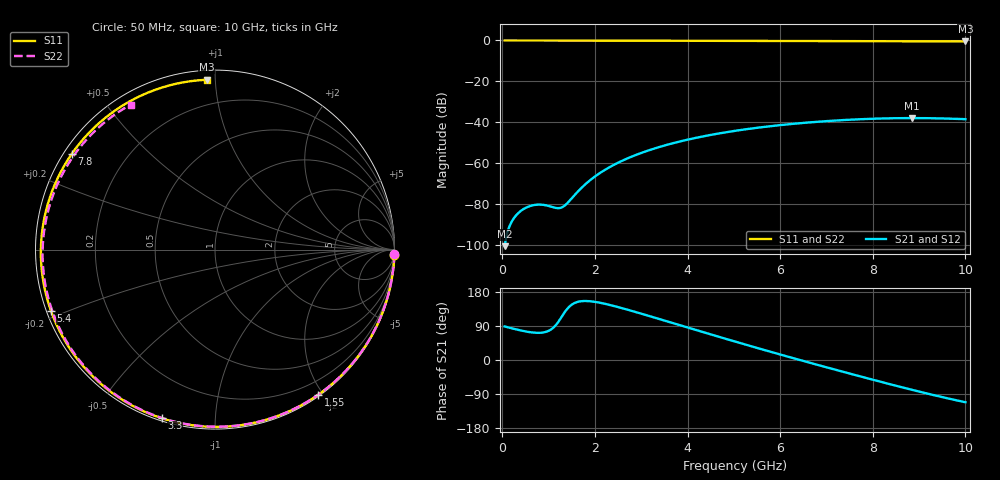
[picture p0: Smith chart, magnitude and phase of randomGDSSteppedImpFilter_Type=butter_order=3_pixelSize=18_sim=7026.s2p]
! freq	dB(S11)	phase(S11)	dB(S12)	phase(S12)
!  dB(S21)	phase(S21)	dB(S22)	phase(S22)
!S-par simulation data
#  GHz  S  DB  R 50
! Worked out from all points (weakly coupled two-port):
!   200 points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, 50 MHz to 10 GHz, reference 50 ohm
!   highest |S21| = -37.90 dB at 8.85 GHz (marker M1); lowest = -100.4 dB at 50 MHz (marker M2)
!   lowest |S11| = -0.5 dB at 10 GHz (marker M3), VSWR 36.89, Z = 2.58 + j47.6 ohm
!   |S11| at or under -10 dB: nowhere
!   |S22| runs from -0.6 to 0.0 dB; largest |S21 - S12| = 0
!   S11 on the Smith chart (normalised r, x): 50 MHz: 0, -62; 1.55 GHz: 0.02, -1.93; 3.3 GHz: 0.01, -0.73; 5.4 GHz: 0.01, -0.18; 7.8 GHz: 0.02, +0.30; 10 GHz: 0.05, +0.95
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0.05  -0.00 -1.8  -100.42 88.5  -100.42 88.5  -0.00 -1.4
0.65  -0.03 -23.5  -80.53 72.6  -80.53 72.6  -0.02 -18.5
1.35  -0.06 -48.0  -80.58 126.6  -80.58 126.6  -0.05 -38.1
1.4  -0.06 -49.7  -79.54 134.7  -79.54 134.7  -0.05 -39.5
1.55  -0.07 -54.7  -75.79 149.8  -75.79 149.8  -0.05 -43.5
1.75  -0.07 -61.3  -71.09 155.6  -71.09 155.6  -0.06 -49.0
2.05  -0.09 -70.9  -65.61 152.5  -65.61 152.5  -0.07 -56.9
2.4  -0.10 -81.7  -60.83 142.9  -60.83 142.9  -0.08 -66.1
2.8  -0.11 -93.5  -56.65 129.4  -56.65 129.4  -0.10 -76.2
3.3  -0.13 -107.5  -52.64 111.5  -52.64 111.5  -0.11 -88.6
3.4  -0.13 -110.3  -51.95 107.8  -51.95 107.8  -0.12 -91.0
4.25  -0.16 -132.2  -47.22 76.7  -47.22 76.7  -0.15 -110.9
5.05  -0.20 -151.4  -44.04 47.8  -44.04 47.8  -0.19 -128.7
5.4  -0.21 -159.5  -42.93 35.4  -42.93 35.4  -0.21 -136.4
6.05  -0.25 -174.3  -41.22 12.8  -41.22 12.8  -0.25 -150.3
6.7  -0.29 171.1  -39.88 -9.3  -39.88 -9.3  -0.29 -164.2
7.25  -0.32 158.8  -39.02 -27.6  -39.02 -27.6  -0.34 -176.0
7.8  -0.36 146.2  -38.39 -45.6  -38.39 -45.6  -0.38 172.0
8.35  -0.39 133.5  -38.01 -63.2  -38.01 -63.2  -0.43 159.7
8.85  -0.42 121.5  -37.90 -78.8  -37.90 -78.8  -0.48 148.2
9.45  -0.45 106.8  -38.05 -96.5  -38.05 -96.5  -0.54 133.8
10  -0.47 92.8  -38.43 -111.5  -38.43 -111.5  -0.59 120.1
